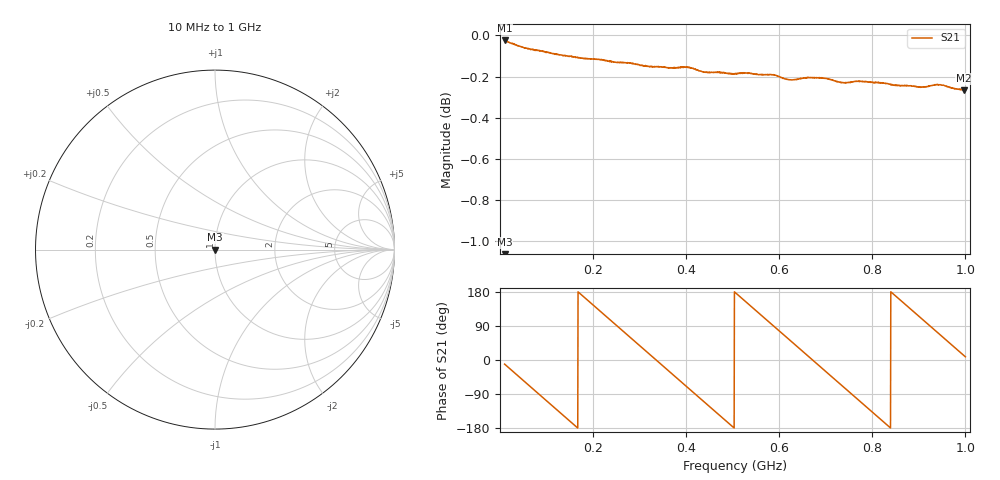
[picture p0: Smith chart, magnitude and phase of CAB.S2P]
!Keysight Technologies,E5061B,SG49100003,B.05.06
!Date: Mon Jan 06 17:54:43 2020
!Data & Calibration Information:
!Freq	S11:NONE(--)	S21:RESPT(ON)	S12:NONE(--)	S22:NONE(--)
# Hz S dB R 50
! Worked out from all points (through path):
!   1601 points, 10 MHz to 1 GHz, reference 50 ohm
!   highest |S21| = -0.02 dB at 10.62 MHz (marker M1); lowest = -0.3 dB at 996.3 MHz (marker M2)
!   group delay of S21, straight-line fit = 2.98 ns
!   lowest |S11| = - dB at 10 MHz (marker M3), VSWR 1.00, Z = 50 + j0 ohm
!   |S11| at or under -10 dB: start of sweep to end of sweep
!   S12 and S22 are empty: the file has one direction only
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1e7  -200.00 0.0  -0.03 -10.9  -200.00 0.0  -200.00 0.0
1.061875e7  -200.00 0.0  -0.02 -11.5  -200.00 0.0  -200.00 0.0
5.393125e7  -200.00 0.0  -0.06 -58.1  -200.00 0.0  -200.00 0.0
8.981875e7  -200.00 0.0  -0.08 -96.6  -200.00 0.0  -200.00 0.0
1.368438e8  -200.00 0.0  -0.10 -147.0  -200.00 0.0  -200.00 0.0
1.752062e8  -200.00 0.0  -0.11 171.8  -200.00 0.0  -200.00 0.0
2.191375e8  -200.00 0.0  -0.12 124.7  -200.00 0.0  -200.00 0.0
2.556438e8  -200.00 0.0  -0.13 85.6  -200.00 0.0  -200.00 0.0
3.0205e8  -200.00 0.0  -0.15 35.9  -200.00 0.0  -200.00 0.0
3.404125e8  -200.00 0.0  -0.15 -5.2  -200.00 0.0  -200.00 0.0
4.214688e8  -200.00 0.0  -0.17 -92.1  -200.00 0.0  -200.00 0.0
4.67875e8  -200.00 0.0  -0.18 -141.7  -200.00 0.0  -200.00 0.0
5.05e8  -200.00 0.0  -0.19 178.6  -200.00 0.0  -200.00 0.0
5.872938e8  -200.00 0.0  -0.19 90.3  -200.00 0.0  -200.00 0.0
6.702062e8  -200.00 0.0  -0.21 1.6  -200.00 0.0  -200.00 0.0
7.067125e8  -200.00 0.0  -0.21 -37.6  -200.00 0.0  -200.00 0.0
7.537375e8  -200.00 0.0  -0.23 -87.8  -200.00 0.0  -200.00 0.0
8.354125e8  -200.00 0.0  -0.24 -175.4  -200.00 0.0  -200.00 0.0
8.731562e8  -200.00 0.0  -0.24 144.2  -200.00 0.0  -200.00 0.0
9.189438e8  -200.00 0.0  -0.25 95.3  -200.00 0.0  -200.00 0.0
9.962875e8  -200.00 0.0  -0.27 12.4  -200.00 0.0  -200.00 0.0
1e9  -200.00 0.0  -0.27 8.4  -200.00 0.0  -200.00 0.0
